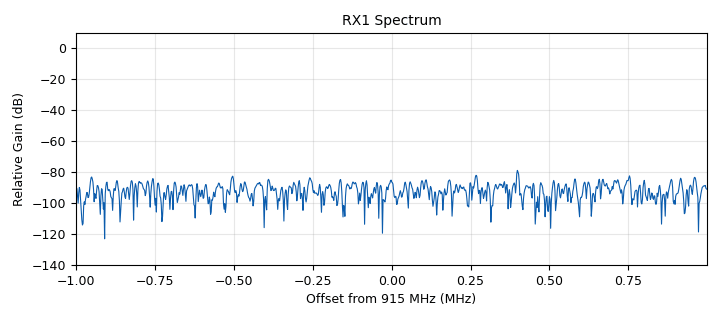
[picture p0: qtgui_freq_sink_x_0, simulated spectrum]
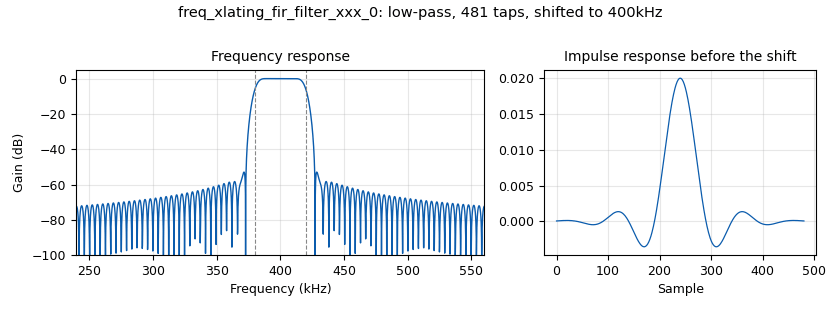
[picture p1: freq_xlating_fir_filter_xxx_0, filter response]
options:
  parameters:
    generate_options: qt_gui
    id: senior_flowchart
    output_language: python
    title: Not titled yet
  states: {}

blocks:
- name: freq
  id: variable
  parameters:
    value: '915000000'
  states: {}
- name: samp_rate
  id: variable
  parameters:
    value: '2000000'
  states: {}
- name: analog_noise_source_x_0
  id: analog_noise_source_x
  parameters:
    amp: '0.001'
    noise_type: analog.GR_GAUSSIAN
    seed: '0'
    type: complex
  states: {}
- name: analog_sig_source_x_0
  id: analog_sig_source_x
  parameters:
    amp: '0.0002'
    freq: '400000'
    offset: '0'
    phase: '0'
    samp_rate: samp_rate
    type: complex
    waveform: analog.GR_COS_WAVE
  states: {}
- name: blocks_add_xx_0
  id: blocks_add_xx
  parameters:
    type: complex
  states: {}
- name: blocks_complex_to_mag_squared_0
  id: blocks_complex_to_mag_squared
  parameters: {}
  states: {}
- name: blocks_complex_to_mag_squared_0_0
  id: blocks_complex_to_mag_squared
  parameters: {}
  states: {}
- name: blocks_file_sink_0
  id: blocks_file_sink
  parameters:
    file: simulation/generated/rx1_600k.c64
    type: complex
  states: {state: disabled}
- name: blocks_file_sink_1
  id: blocks_file_sink
  parameters:
    file: simulation/generated/filtered_power.f32
    type: float
  states: {}
- name: blocks_file_sink_1_0
  id: blocks_file_sink
  parameters:
    file: simulation/generated/full_power.f32
    type: float
  states: {}
- name: blocks_head_0
  id: blocks_head
  parameters:
    num_items: '200000'
    type: complex
  states: {state: disabled}
- name: blocks_keep_one_in_n_0
  id: blocks_keep_one_in_n
  parameters:
    n: '2000'
    type: float
  states: {}
- name: blocks_keep_one_in_n_0_0
  id: blocks_keep_one_in_n
  parameters:
    n: '2000'
    type: float
  states: {}
- name: blocks_moving_average_xx_0
  id: blocks_moving_average_xx
  parameters:
    length: '1000'
    max_iter: '4000'
    scale: 1.0/1000
    type: float
  states: {}
- name: blocks_moving_average_xx_0_0
  id: blocks_moving_average_xx
  parameters:
    length: '1000'
    max_iter: '4000'
    scale: 1.0/1000
    type: float
  states: {}
- name: blocks_multiply_const_vxx_0
  id: blocks_multiply_const_vxx
  parameters:
    const: '1000000'
    type: float
  states: {}
- name: blocks_multiply_const_vxx_0_0
  id: blocks_multiply_const_vxx
  parameters:
    const: '1000000'
    type: float
  states: {}
- name: blocks_threshold_ff_1
  id: blocks_threshold_ff
  parameters:
    high: '0.05'
    init: '0'
    low: '0.05'
  states: {}
- name: freq_xlating_fir_filter_xxx_0
  id: freq_xlating_fir_filter_xxx
  parameters:
    center_freq: '400000'
    decim: '1'
    samp_rate: samp_rate
    taps: firdes.low_pass(1.0, samp_rate, 20000, 10000)
    type: ccc
  states: {}
- name: iio_pluto_source_0_0
  id: iio_pluto_source
  parameters:
    bandwidth: '2000000'
    bbdc: 'True'
    buffer_size: '32768'
    filter_source: '''Auto'''
    frequency: freq
    gain1: '''manual'''
    manual_gain1: '20'
    quadrature: 'True'
    rfdc: 'True'
    samplerate: samp_rate
    type: fc32
    uri: usb:1.4.5
  states: {state: disabled}
- name: qtgui_freq_sink_x_0
  id: qtgui_freq_sink_x
  parameters:
    bw: samp_rate
    fc: freq
    fftsize: '1024'
    grid: 'True'
    name: RX1 Spectrum
    norm_window: 'True'
    type: complex
    wintype: window.WIN_FLATTOP
  states: {}
- name: rx1_power_display
  id: qtgui_number_sink
  parameters:
    graph_type: qtgui.NUM_GRAPH_NONE
    max: '0.001'
    min: '0'
    name: RX1 Average Power
    type: float
  states: {}
- name: rx1_power_display_0
  id: qtgui_number_sink
  parameters:
    graph_type: qtgui.NUM_GRAPH_NONE
    max: '0.001'
    min: '0'
    name: RX1 Ave. Power (filtered)
    type: float
  states: {}
- name: rx1_power_display_0_0
  id: qtgui_number_sink
  parameters:
    graph_type: qtgui.NUM_GRAPH_NONE
    max: '0.001'
    min: '0'
    name: threshold
    type: float
  states: {}

connections:
- [analog_noise_source_x_0, '0', blocks_add_xx_0, '1']
- [analog_sig_source_x_0, '0', blocks_add_xx_0, '0']
- [blocks_add_xx_0, '0', blocks_complex_to_mag_squared_0, '0']
- [blocks_add_xx_0, '0', freq_xlating_fir_filter_xxx_0, '0']
- [blocks_add_xx_0, '0', qtgui_freq_sink_x_0, '0']
- [blocks_complex_to_mag_squared_0, '0', blocks_moving_average_xx_0, '0']
- [blocks_complex_to_mag_squared_0_0, '0', blocks_moving_average_xx_0_0, '0']
- [blocks_head_0, '0', blocks_file_sink_0, '0']
- [blocks_keep_one_in_n_0, '0', blocks_file_sink_1, '0']
- [blocks_keep_one_in_n_0_0, '0', blocks_file_sink_1_0, '0']
- [blocks_moving_average_xx_0, '0', blocks_multiply_const_vxx_0, '0']
- [blocks_moving_average_xx_0_0, '0', blocks_multiply_const_vxx_0_0, '0']
- [blocks_multiply_const_vxx_0, '0', blocks_keep_one_in_n_0_0, '0']
- [blocks_multiply_const_vxx_0, '0', rx1_power_display, '0']
- [blocks_multiply_const_vxx_0_0, '0', blocks_keep_one_in_n_0, '0']
- [blocks_multiply_const_vxx_0_0, '0', blocks_threshold_ff_1, '0']
- [blocks_multiply_const_vxx_0_0, '0', rx1_power_display_0, '0']
- [blocks_threshold_ff_1, '0', rx1_power_display_0_0, '0']
- [freq_xlating_fir_filter_xxx_0, '0', blocks_complex_to_mag_squared_0_0, '0']

metadata:
  file_format: 1
  grc_version: 3.10.12.0
